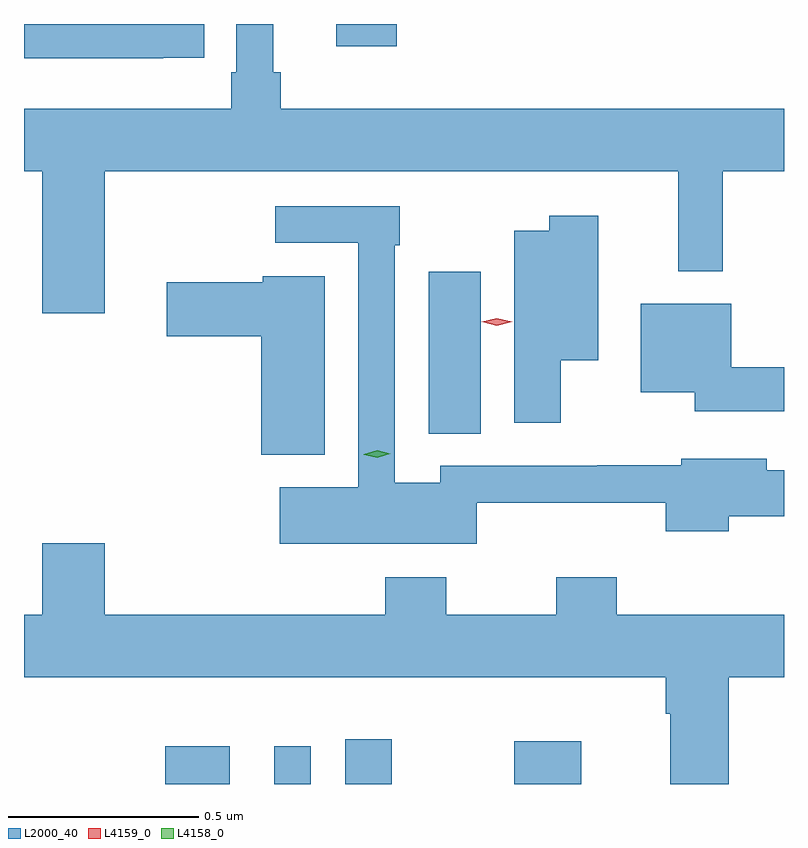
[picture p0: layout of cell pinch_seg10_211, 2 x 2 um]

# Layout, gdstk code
import gdstk
lib = gdstk.Library(unit=1e-6, precision=1e-09)
def R(c, l, rs):  # rectangles x0, y0, x1, y1
    for r in rs: c.add(gdstk.rectangle(r[:2], r[2:], *l))
def P(c, l, *ps):  # polygons
    for p in ps: c.add(gdstk.Polygon(p, *l))
L2000_40 = (2000, 40)
L4158_0 = (4158, 0)
L4159_0 = (4159, 0)

pinch_seg10_211 = lib.new_cell('pinch_seg10_211')
R(pinch_seg10_211, L2000_40, [(776.72,1280.055,776.89,1280.155), (777.006,1280.055,777.102,1280.155), (777.194,1280.055,777.316,1280.173), (777.638,1280.055,777.814,1280.167), (777.413,1280.977,777.55,1281.403), (777.17,1281.996,777.329,1282.055)])
P(pinch_seg10_211, L2000_40, [(776.56,1281.668),(778.07,1281.668),(778.07,1281.405),(778.187,1281.405),(778.187,1281.668),(778.348,1281.668),(778.348,1281.832),(777.023,1281.832),(777.023,1281.928),(777.004,1281.928),(777.004,1282.055),(776.907,1282.055),(776.907,1281.928),(776.894,1281.928),(776.894,1281.832),(776.348,1281.832),(776.348,1281.668),(776.396,1281.668),(776.396,1281.294),(776.56,1281.294)],
  [(776.714,1281.966),(776.822,1281.966),(776.822,1282.055),(776.348,1282.055),(776.348,1281.965),(776.714,1281.965)],
  [(777.54,1280.795),(778.037,1280.795),(778.037,1280.72),(778.202,1280.72),(778.202,1280.759),(778.348,1280.759),(778.348,1280.881),(778.303,1280.881),(778.303,1280.911),(778.077,1280.911),(778.077,1280.894),(777.856,1280.894),(777.856,1280.892),(777.444,1280.892),(777.444,1280.848),(777.324,1280.848),(777.324,1281.473),(777.337,1281.473),(777.337,1281.576),(777.009,1281.576),(777.009,1281.48),(777.228,1281.48),(777.228,1280.836),(777.021,1280.836),(777.021,1280.687),(777.54,1280.687)],
  [(777.76,1281.17),(777.859,1281.17),(777.859,1281.55),(777.73,1281.55),(777.73,1281.511),(777.638,1281.511),(777.638,1281.006),(777.76,1281.006)],
  [(777.139,1281.391),(776.976,1281.391),(776.976,1281.375),(776.724,1281.375),(776.724,1281.233),(776.972,1281.233),(776.972,1280.921),(777.139,1280.921)],
  [(778.348,1281.152),(778.209,1281.152),(778.209,1281.319),(777.971,1281.319),(777.971,1281.086),(778.113,1281.086),(778.113,1281.036),(778.348,1281.036)],
  [(778.202,1280.336),(778.348,1280.336),(778.348,1280.5),(777.908,1280.5),(777.908,1280.599),(777.748,1280.599),(777.748,1280.5),(777.459,1280.5),(777.459,1280.599),(777.299,1280.599),(777.299,1280.5),(776.56,1280.5),(776.56,1280.689),(776.396,1280.689),(776.396,1280.5),(776.348,1280.5),(776.348,1280.336),(778.037,1280.336),(778.037,1280.24),(778.049,1280.24),(778.049,1280.055),(778.202,1280.055)])
P(pinch_seg10_211, L4158_0, [(777.277,1280.913),(777.242,1280.922),(777.242,1280.922),(777.242,1280.923),(777.277,1280.933),(777.312,1280.924),(777.312,1280.924),(777.312,1280.924)])
P(pinch_seg10_211, L4159_0, [(777.592,1281.261),(777.552,1281.271),(777.551,1281.271),(777.552,1281.271),(777.592,1281.281),(777.633,1281.271),(777.633,1281.271),(777.633,1281.271)])

lib.write_gds('pinch_seg10_211.gds')
